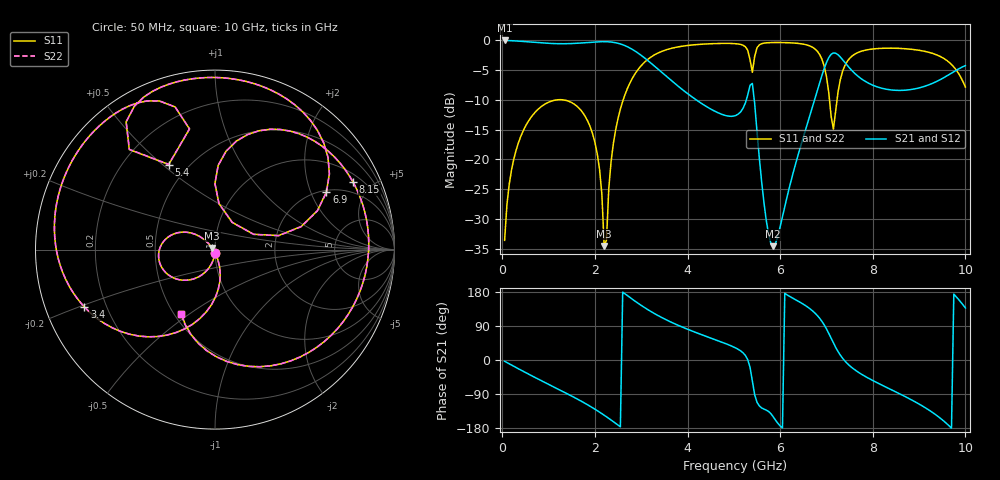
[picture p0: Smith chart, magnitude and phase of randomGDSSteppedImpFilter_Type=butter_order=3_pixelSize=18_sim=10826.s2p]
! freq	dB(S11)	phase(S11)	dB(S12)	phase(S12)
!  dB(S21)	phase(S21)	dB(S22)	phase(S22)
!S-par simulation data
#  GHz  S  DB  R 50
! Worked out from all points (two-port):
!   200 points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, 50 MHz to 10 GHz, reference 50 ohm
!   highest |S21| = -0.01 dB at 50 MHz (marker M1); lowest = -34.6 dB at 5.85 GHz (marker M2)
!   |S21| within 3 dB of the highest: start of sweep to 3.082 GHz; 7.043 GHz to 7.323 GHz (280.1 MHz wide, 3.9 % of centre)
!   lowest |S11| = -34.5 dB at 2.2 GHz (marker M3), VSWR 1.04, Z = 48.4 + j0.903 ohm
!   |S11| at or under -10 dB: start of sweep to 1.181 GHz; 1.312 GHz to 2.61 GHz (1.298 GHz wide, 66.2 % of centre); 7.065 GHz to 7.229 GHz (163.5 MHz wide, 2.29 % of centre)
!   |S22| runs from -34.6 to -0.4 dB; largest |S21 - S12| = 0
!   S11 on the Smith chart (normalised r, x): 50 MHz: 1.00, -0.04; 3.4 GHz: 0.12, -0.21; 5.4 GHz: 0.39, +0.52; 6.9 GHz: 2.08, +2.60; 8.15 GHz: 1.38, +3.88; 10 GHz: 0.54, -0.47
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0.05  -33.61 -92.4  -0.01 -3.4  -0.01 -3.4  -33.62 -92.4
0.2  -21.76 -103.7  -0.05 -13.4  -0.05 -13.4  -21.75 -103.8
0.55  -13.76 -126.7  -0.24 -36.2  -0.24 -36.2  -13.75 -126.8
1.75  -12.28 158.7  -0.41 -111.7  -0.41 -111.7  -12.28 158.7
2.05  -19.03 139.3  -0.24 -133.6  -0.24 -133.6  -19.04 139.2
2.2  -34.55 150.1  -0.21 -145.6  -0.21 -145.6  -34.57 150.1
2.55  -11.55 -89.4  -0.60 -176.3  -0.60 -176.3  -11.55 -89.4
3.4  -1.99 -156.3  -5.09 114.8  -5.09 114.8  -1.99 -156.4
4.15  -0.73 163.7  -9.79 74.0  -9.79 74.0  -0.73 163.7
5.05  -0.56 123.5  -12.59 31.1  -12.59 31.1  -0.56 123.5
5.4  -5.36 118.5  -7.23 -55.6  -7.23 -55.6  -5.34 118.5
5.5  -1.24 124.8  -15.36 -111.4  -15.36 -111.4  -1.24 124.8
5.85  -0.36 100.1  -34.60 -149.8  -34.60 -149.8  -0.36 100.1
6.7  -1.16 49.2  -11.10 129.6  -11.10 129.6  -1.16 49.1
6.9  -3.12 27.3  -5.95 102.3  -5.95 102.3  -3.12 27.2
7.15  -14.91 57.6  -2.11 45.0  -2.11 45.0  -14.94 57.6
7.25  -8.67 90.1  -2.41 22.3  -2.41 22.3  -8.67 90.1
7.55  -2.65 65.5  -5.08 -20.2  -5.08 -20.2  -2.65 65.5
8.15  -1.35 25.9  -7.95 -63.4  -7.95 -63.4  -1.35 25.9
8.35  -1.30 14.3  -8.28 -75.3  -8.28 -75.3  -1.31 14.2
9.4  -2.50 -55.7  -6.82 -148.1  -6.82 -148.1  -2.50 -55.8
10  -7.84 -117.4  -4.24 137.4  -4.24 137.4  -7.87 -117.9
